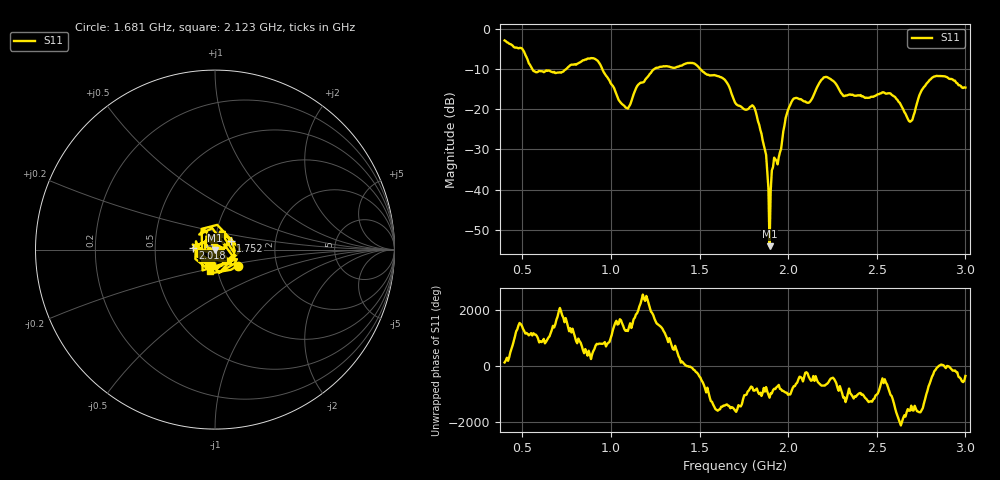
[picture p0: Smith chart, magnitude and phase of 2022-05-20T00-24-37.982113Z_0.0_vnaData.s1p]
!Created with skrf (http://scikit-rf.org).
# Hz S RI R 50.0
!freq ReS11 ImS11
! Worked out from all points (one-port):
!   401 points, 400 MHz to 3 GHz, reference 50 ohm
!   lowest |S11| = -54.1 dB at 1.895 GHz (marker M1), VSWR 1.00, Z = 50.1 - j0.165 ohm
!   |S11| at or under -10 dB: 556.5 MHz to 747.9 MHz (191.4 MHz wide, 29.4 % of centre); 951 MHz to 1.245 GHz (294.4 MHz wide, 26.8 % of centre); 1.504 GHz to end of sweep
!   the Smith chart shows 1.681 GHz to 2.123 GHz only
!   S11 on the Smith chart (normalised r, x): 1.681 GHz: 1.27, -0.23; 1.752 GHz: 1.19, +0.12; 2.018 GHz: 0.78, +0.02; 2.123 GHz: 0.92, -0.22
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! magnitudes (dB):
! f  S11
! 400 MHz  -2.9
! 497.5 MHz  -4.9
! 569 MHz  -10.6
! 725 MHz  -10.7
! 913.5 MHz  -7.6
! 1.05 GHz  -18.1
! 1.095 GHz  -19.9
! 1.245 GHz  -10.0
! 1.375 GHz  -9.4
! 1.472 GHz  -8.7
! 1.681 GHz  -16.2
! 1.7 GHz  -18.3
! 1.752 GHz  -20.0
! 1.823 GHz  -21.8
! 1.863 GHz  -28.9
! 1.882 GHz  -35.6
! 1.895 GHz  -54.1
! 1.921 GHz  -32.1
! 1.947 GHz  -31.9
! 2.018 GHz  -18.2
! 2.025 GHz  -17.7
! 2.123 GHz  -18.2
! 2.213 GHz  -12.0
! 2.35 GHz  -16.3
! 2.578 GHz  -16.1
! 2.675 GHz  -22.4
! 2.825 GHz  -11.9
! 3 GHz  -14.6
